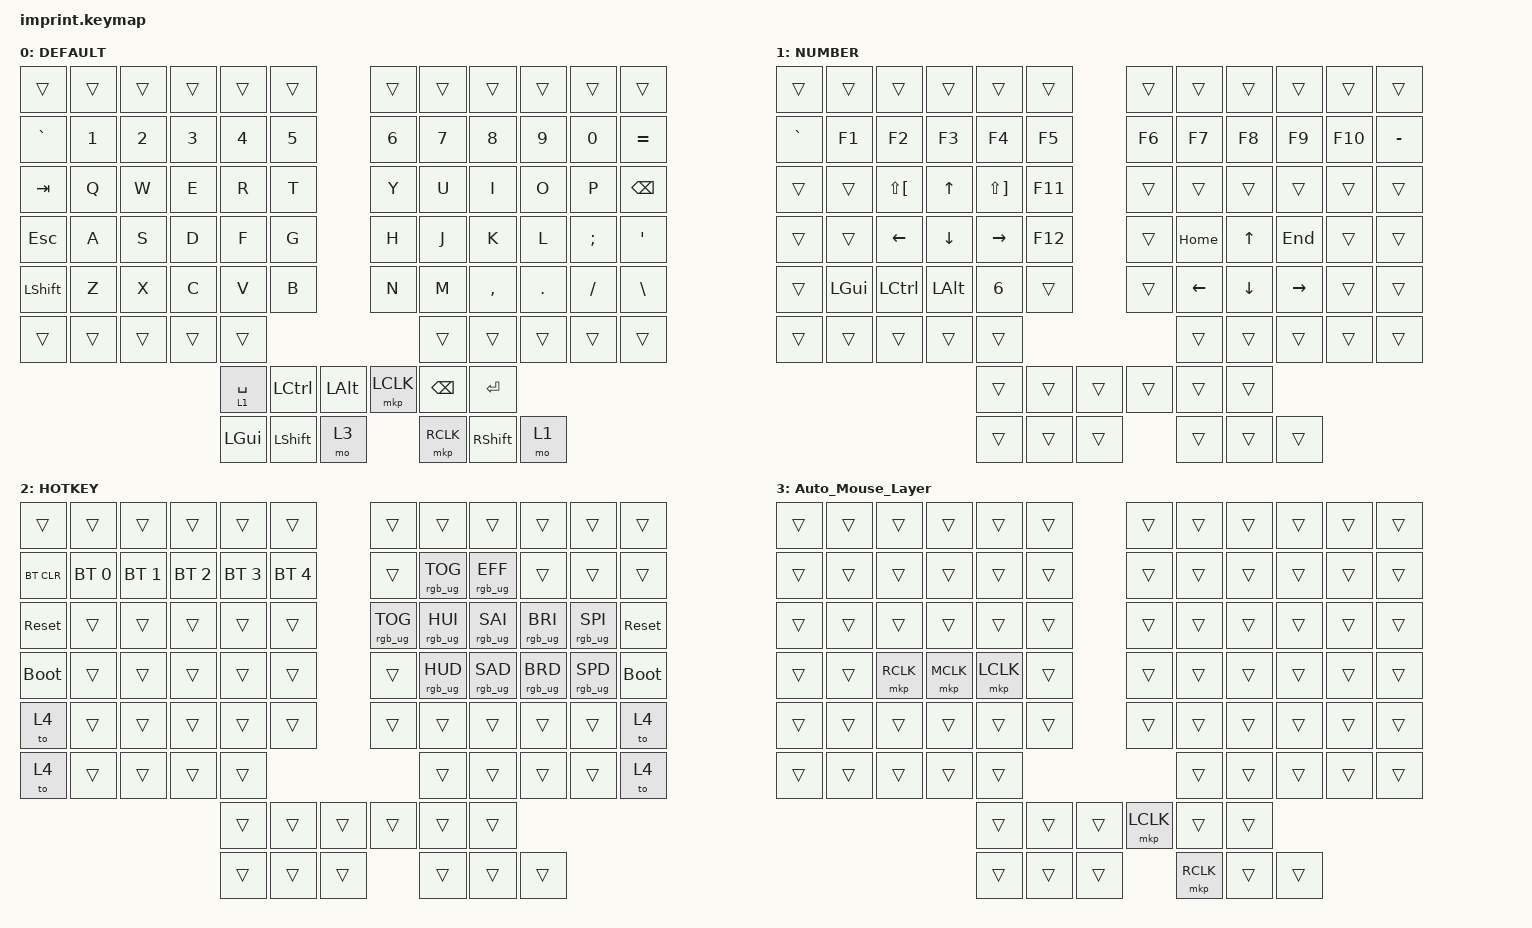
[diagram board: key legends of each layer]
#include <input/processors.dtsi>
#include <dt-bindings/zmk/input_transform.h>
#include <behaviors.dtsi>
#include <dt-bindings/zmk/bt.h>
#include <dt-bindings/zmk/keys.h>
#include <dt-bindings/zmk/pointing.h>
#include <dt-bindings/zmk/rgb.h>

#define DEFAULT 0
#define NUMBER  1
#define FN  2
#define HOTKEY  3

/ {
    chosen { zmk,matrix-transform = &imprint_function_row_full_bottom_row; };

    combos {
        compatible = "zmk,combos";

        combo_lbrc {
            timeout-ms = <50>;
            key-positions = <28 29>; // KP: VB
            bindings = <&mt RBRC LBRC>;
            layers = <0 1 2 3 4 5>;
        };

        combo_rbrc {
            timeout-ms = <50>;
            key-positions = <30 31>; // KP: NM
            bindings = <&kp RBRC>;
            layers = <0 1 2 3 4 5>;
        };

        combo_lpar {
            timeout-ms = <50>;
            key-positions = <40 41>; // KP: FG
            bindings = <&mt RPAR LPAR>;
            layers = <0 1 2 3 4 5>;
        };

        combo_rpar {
            timeout-ms = <50>;
            key-positions = <42 43>;
            bindings = <&kp RPAR>;
            layers = <0 1 2 3 4 5>;
        };

        combo_lbkt {
            timeout-ms = <50>;
            key-positions = <52 53>; // KP: RT
            bindings = <&mt RBKT LBKT>;
            layers = <0 1 2 3 4 5>;
        };

        combo_rbkt {
            timeout-ms = <50>;
            key-positions = <54 55>; // KP: YU
            bindings = <&kp RBKT>;
            layers = <0 1 2 3 4 5>;
        };

        capslock {
            timeout-ms = <50>;
            key-positions = <24 25>;
            bindings = <&kp CAPSLOCK>; // caps
            layers = <0>;
        };

        equal {
            timeout-ms = <50>;
            key-positions = <32 33>;
            bindings = <&kp EQUAL>;
            layers = <0>;
        };

        minus {
            timeout-ms = <50>;
            key-positions = <31 32>;
            bindings = <&kp MINUS>;
            layers = <0>;
        };
    };

    keymap {
        compatible = "zmk,keymap";

        default_layer {
            label = "DEFAULT";
            bindings = <
&trans     &trans  &trans    &trans    &trans    &trans              &trans     &trans    &trans     &trans    &trans    &trans
&kp GRAVE  &kp N1  &kp N2    &kp N3    &kp N4    &kp N5              &kp N6     &kp N7    &kp N8     &kp N9    &kp N0    &kp EQUAL
&kp TAB    &kp Q   &kp W     &kp E     &kp R     &kp T               &kp Y      &kp U     &kp I      &kp O     &kp P     &kp BACKSPACE
&kp ESC    &kp A   &kp S     &kp D     &kp F     &kp G               &kp H      &kp J     &kp K      &kp L     &kp SEMI  &kp SQT
&kp LSHFT  &kp Z   &kp X     &kp C     &kp V     &kp B               &kp N      &kp M     &kp COMMA  &kp DOT   &kp FSLH  &kp BSLH
&trans     &trans  &trans    &trans    &trans                                   &trans    &trans     &trans    &trans    &trans
                                       &lt 1 SPACE &kp LCTRL &kp LALT  &mkp LCLK   &kp BSPC  &kp ENTER
                                       &kp LGUI  &kp LSHFT    &mo 3      &mkp RCLK   &kp RSHFT     &mo 1
            >;
        };

        Numpad_Nav_Layer {
            label = "NUMBER";
            bindings = <
&trans  &trans  &trans  &trans  &trans  &trans            &trans  &trans    &trans    &trans     &trans  &trans
&kp GRAVE &kp F1         &kp F2        &kp F3         &kp F4      &kp F5      &kp F6  &kp F7   &kp F8   &kp F9    &kp F10   &kp MINUS
&trans  &trans  &kp LS(LBKT) &kp UP  &kp LS(RBKT) &kp F11            &trans  &trans    &trans    &trans     &trans  &trans
&trans  &trans  &kp LEFT     &kp DOWN &kp RIGHT  &kp F12            &trans  &kp HOME  &kp UP    &kp END    &trans  &trans
&trans  &kp LGUI  &kp LCTRL  &kp LALT  &kp N6  &trans            &trans  &kp LEFT  &kp DOWN  &kp RIGHT  &trans  &trans
&trans  &trans  &trans  &trans  &trans                            &trans    &trans    &trans     &trans  &trans
                                &trans  &trans  &trans    &trans  &trans    &trans
                                &trans  &trans  &trans    &trans  &trans    &trans
            >;
        };

        Keyboard_Control_Layer {
            label = "HOTKEY";
            bindings = <
&trans       &trans        &trans        &trans        &trans        &trans                  &trans  &trans           &trans           &trans           &trans           &trans
&bt BT_CLR   &bt BT_SEL 0  &bt BT_SEL 1  &bt BT_SEL 2  &bt BT_SEL 3  &bt BT_SEL 4            &trans  &rgb_ug RGB_TOG  &rgb_ug RGB_EFF  &trans           &trans           &trans
&sys_reset   &trans        &trans        &trans        &trans        &trans                  &rgb_ug RGB_TOG  &rgb_ug RGB_HUI  &rgb_ug RGB_SAI  &rgb_ug RGB_BRI  &rgb_ug RGB_SPI  &sys_reset
&bootloader  &trans        &trans        &trans        &trans        &trans                  &trans  &rgb_ug RGB_HUD  &rgb_ug RGB_SAD  &rgb_ug RGB_BRD  &rgb_ug RGB_SPD  &bootloader
&to 4        &trans        &trans        &trans        &trans        &trans                  &trans  &trans           &trans           &trans           &trans           &to 4
&to 4        &trans        &trans        &trans        &trans                                        &trans           &trans           &trans           &trans           &to 4
                                                       &trans        &trans        &trans    &trans  &trans           &trans
                                                       &trans        &trans        &trans    &trans  &trans           &trans
            >;
        };

        Auto_Mouse_Layer {
            bindings = <
&trans  &trans  &trans     &trans     &trans     &trans            &trans  &trans  &trans  &trans  &trans  &trans
&trans  &trans  &trans     &trans     &trans     &trans            &trans  &trans  &trans  &trans  &trans  &trans
&trans  &trans  &trans     &trans     &trans     &trans            &trans  &trans  &trans  &trans  &trans  &trans
&trans  &trans  &mkp RCLK  &mkp MCLK  &mkp LCLK  &trans            &trans  &trans  &trans  &trans  &trans  &trans
&trans  &trans  &trans     &trans     &trans     &trans            &trans  &trans  &trans  &trans  &trans  &trans
&trans  &trans  &trans     &trans     &trans                               &trans  &trans  &trans  &trans  &trans
                                      &trans     &trans  &trans    &mkp LCLK &trans  &trans
                                      &trans     &trans  &trans    &mkp RCLK &trans  &trans
            >;
        };

    };
};

// right hand trackball configuration
&trackball_peripheral_listener {
    input-processors = <&zip_xy_scaler 1 1>;
        // activate layer 3 within 500ms of the trackball moving
        // <&zip_temp_layer 3 500>;

        scroller {
            layers = <3>;
            input-processors = <&zip_xy_scaler 1 16>, <&zip_xy_to_scroll_mapper>;
            process-next;
        };

        snipe_pointer {
            layers = <1>;
            input-processors = <&zip_xy_scaler 1 4>;
            process-next;
        };

};

// left hand trackball configuration

/* &trackball_central_listener {
    input-processors =
        // multiply sensitivity by 1, divide by 3 (make it slower for scrolling),
        <&zip_xy_scaler 1 3>,
        // make this trackball output scrolling events by default instead of cursor movement,
        <&zip_xy_to_scroll_mapper>,
        // invert vertical scrolling so that the view moves in the same direction as the top of the trackball.,
        <&zip_scroll_transform INPUT_TRANSFORM_Y_INVERT>;

        scroller {
            layers = <1>;
            input-processors = <&zip_xy_to_scroll_mapper>;
            process-next;
        };

}; */
